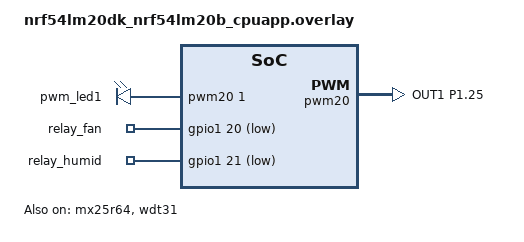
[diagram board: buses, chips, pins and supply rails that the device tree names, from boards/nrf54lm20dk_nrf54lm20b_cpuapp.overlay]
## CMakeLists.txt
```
#
# Copyright (c) 2021 Nordic Semiconductor ASA
#
# SPDX-License-Identifier: LicenseRef-Nordic-5-Clause
#

cmake_minimum_required(VERSION 3.20.0)

find_package(Zephyr HINTS $ENV{ZEPHYR_BASE})

project(matter-light-bulb)

# Enable GNU STD support.
include(${ZEPHYR_CONNECTEDHOMEIP_MODULE_DIR}/config/nrfconnect/app/enable-gnu-std.cmake)

# NORDIC SDK APP START

# Include all source files that are located in the Matter common directory.
include(${ZEPHYR_NRF_MODULE_DIR}/samples/matter/common/cmake/source_common.cmake)

# Include Data Model utils
include(${ZEPHYR_NRF_MODULE_DIR}/samples/matter/common/cmake/data_model.cmake)

include(${ZEPHYR_NRF_MODULE_DIR}/samples/matter/common/cmake/zap_helpers.cmake)
ncs_get_zap_parent_dir(ZAP_PARENT_DIR)

target_include_directories(app PRIVATE
  src
  ${ZAP_PARENT_DIR}
)

target_sources(app PRIVATE
  src/app_task.cpp
  src/main.cpp
  src/zcl_callbacks.cpp
  src/decision.c
  src/node_outputs.cpp
  ${CHIP_ROOT}/src/app/persistence/DeferredAttributePersistenceProvider.cpp
)

ncs_configure_data_model()
# NORDIC SDK APP END
```

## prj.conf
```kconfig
#
# Copyright (c) 2022 Nordic Semiconductor ASA
#
# SPDX-License-Identifier: LicenseRef-Nordic-5-Clause
#

# Enable CHIP
CONFIG_CHIP=y
CONFIG_CHIP_PROJECT_CONFIG="src/chip_project_config.h"
CONFIG_CHIP_DEVICE_PRODUCT_NAME="Bedroom Immune Node"

# Configure ZAP file name
CONFIG_NCS_SAMPLE_MATTER_ZAP_FILE_PATH="${APPLICATION_CONFIG_DIR}/src/default_zap/light_bulb.zap"

# 32773 == 0x8005 (example lighting-app)
CONFIG_CHIP_DEVICE_PRODUCT_ID=32773
CONFIG_STD_CPP17=y

# Enable Matter pairing automatically on application start.
CONFIG_CHIP_ENABLE_PAIRING_AUTOSTART=y

# Enable Matter extended announcement and increase duration to 1 hour.
CONFIG_CHIP_BLE_EXT_ADVERTISING=y
CONFIG_CHIP_BLE_ADVERTISING_DURATION=60

# Add support for LEDs and buttons on Nordic development kits
CONFIG_DK_LIBRARY=y
CONFIG_PWM=y

# Bluetooth Low Energy configuration
CONFIG_BT_DEVICE_NAME="BedroomNode"

# Other settings
CONFIG_THREAD_NAME=y
CONFIG_MPU_STACK_GUARD=y
CONFIG_RESET_ON_FATAL_ERROR=n
CONFIG_CHIP_LIB_SHELL=y
CONFIG_NCS_SAMPLE_MATTER_TEST_SHELL=y

# Reduce application size
CONFIG_USE_SEGGER_RTT=n

# Enable Factory Data feature
CONFIG_CHIP_FACTORY_DATA=y
CONFIG_CHIP_FACTORY_DATA_BUILD=y

# 침실 노드 판단부: 표면 습도 등 소수점 출력
CONFIG_CBPRINTF_FP_SUPPORT=y
```

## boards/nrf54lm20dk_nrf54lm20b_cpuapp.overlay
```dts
/*
 * Copyright (c) 2026 Nordic Semiconductor ASA
 *
 * SPDX-License-Identifier: LicenseRef-Nordic-5-Clause
 */

#include <samples/matter/nrf54lm20_cpuapp_partitions.dtsi>

/ {
	chosen {
		nordic,pm-ext-flash = &mx25r64;
	};

	aliases {
		/* Configure PWM module for led1 (LED2 on the board) */
		pwm-led1 = &pwm_led1;

		/* Use watchdog wdt31 as the application watchdog */
		watchdog0 = &wdt31;
	};

	pwmleds {
		compatible = "pwm-leds";

		pwm_led1: pwm_led_1 {
			pwms = <&pwm20 1 PWM_MSEC(20) PWM_POLARITY_NORMAL>;
		};
	};
};

&pwm20 {
	status = "okay";
	pinctrl-0 = <&pwm_default>;
	pinctrl-1 = <&pwm_sleep>;
	pinctrl-names = "default", "sleep";
};

&pinctrl {
	pwm_default: pwm_default {
		group1 {
			psels = <NRF_PSEL(PWM_OUT1, 1, 25)>;
		};
	};

	pwm_sleep: pwm_sleep {
		group1 {
			psels = <NRF_PSEL(PWM_OUT1, 1, 25)>;
			low-power-enable;
		};
	};
};

&mx25r64 {
	status = "okay";
};

&wdt31 {
	status = "okay";
};

/* 침실 노드: 릴레이 IN1 = 선풍기(P1.20), IN2 = 가습기(P1.21). LOW에서 켜지는 릴레이 */
/ {
	aliases {
		relay-fan = &relay_fan;
		relay-humid = &relay_humid;
	};

	relays {
		compatible = "gpio-leds";
		relay_fan: relay_fan {
			gpios = <&gpio1 20 GPIO_ACTIVE_LOW>;
		};
		relay_humid: relay_humid {
			gpios = <&gpio1 21 GPIO_ACTIVE_LOW>;
		};
	};
};
```

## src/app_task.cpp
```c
/*
 * Copyright (c) 2021 Nordic Semiconductor ASA
 *
 * SPDX-License-Identifier: LicenseRef-Nordic-5-Clause
 */

#include "app_task.h"
#include "node_outputs.h"

#include "app/matter_init.h"
#include "app/task_executor.h"

#if defined(CONFIG_PWM)
#include "pwm/pwm_device.h"
#endif

#include "clusters/identify.h"

#include <app-common/zap-generated/attributes/Accessors.h>
#include <app/persistence/AttributePersistenceProviderInstance.h>
#include <app/persistence/DefaultAttributePersistenceProvider.h>
#include <app/persistence/DeferredAttributePersistenceProvider.h>
#include <app/server/Server.h>
#include <setup_payload/OnboardingCodesUtil.h>

#include <zephyr/logging/log.h>

LOG_MODULE_DECLARE(app, CONFIG_CHIP_APP_LOG_LEVEL);

using namespace ::chip;
using namespace ::chip::app;
using namespace ::chip::DeviceLayer;

namespace
{
constexpr EndpointId kLightEndpointId = 1;
constexpr uint8_t kDefaultMinLevel = 0;
constexpr uint8_t kDefaultMaxLevel = 254;

Nrf::Matter::IdentifyCluster sIdentifyCluster(kLightEndpointId, true, []() {
	Nrf::PostTask([] { Nrf::GetBoard().GetLED(Nrf::DeviceLeds::LED2).Set(false); });
#if defined(CONFIG_PWM)
	Nrf::PostTask([] { AppTask::Instance().GetPWMDevice().ApplyLevel(); });
#endif
});

#if defined(CONFIG_PWM)
const struct pwm_dt_spec sLightPwmDevice = PWM_DT_SPEC_GET(DT_ALIAS(pwm_led1));
#endif

/* Define a custom attribute persister which makes actual write of the CurrentLevel attribute value
 * to the non-volatile storage only when it has remained constant for 5 seconds. This is to reduce
 * the flash wearout when the attribute changes frequently as a result of MoveToLevel command.
 * DeferredAttribute object describes a deferred attribute, but also holds a buffer with a value to
 * be written, so it must live so long as the DeferredAttributePersistenceProvider object.
 */
DeferredAttribute gCurrentLevelPersister(ConcreteAttributePath(kLightEndpointId, Clusters::LevelControl::Id,
							       Clusters::LevelControl::Attributes::CurrentLevel::Id));

/* Deferred persistence will be auto-initialized as soon as the default persistence is initialized */
DefaultAttributePersistenceProvider gSimpleAttributePersistence;
DeferredAttributePersistenceProvider gDeferredAttributePersister(gSimpleAttributePersistence,
								 Span<DeferredAttribute>(&gCurrentLevelPersister, 1),
								 System::Clock::Milliseconds32(5000));

#define APPLICATION_BUTTON_MASK DK_BTN2_MSK
} /* namespace */

void AppTask::LightingActionEventHandler(const LightingEvent &event)
{
#if defined(CONFIG_PWM)
	Nrf::PWMDevice::Action_t action = Nrf::PWMDevice::INVALID_ACTION;
	int32_t actor = 0;
	if (event.Actor == LightingActor::Button) {
		action = Instance().mPWMDevice.IsTurnedOn() ? Nrf::PWMDevice::OFF_ACTION : Nrf::PWMDevice::ON_ACTION;
		actor = static_cast<int32_t>(event.Actor);
	}

	if (action == Nrf::PWMDevice::INVALID_ACTION || !Instance().mPWMDevice.InitiateAction(action, actor, NULL)) {
		LOG_INF("An action could not be initiated.");
	}
#else
	Nrf::GetBoard().GetLED(Nrf::DeviceLeds::LED2).Set(!Nrf::GetBoard().GetLED(Nrf::DeviceLeds::LED2).GetState());
#endif
}

void AppTask::ButtonEventHandler(Nrf::ButtonState state, Nrf::ButtonMask hasChanged)
{
	if ((APPLICATION_BUTTON_MASK & hasChanged) & state) {
		Nrf::PostTask([] {
			LightingEvent event;
			event.Actor = LightingActor::Button;
			LightingActionEventHandler(event);
		});
	}
}

#if defined(CONFIG_PWM)
void AppTask::ActionInitiated(Nrf::PWMDevice::Action_t action, int32_t actor)
{
	/* 판단부의 EVT/VAL 줄과 섞이지 않도록 로그를 남기지 않는다 */
}

void AppTask::ActionCompleted(Nrf::PWMDevice::Action_t action, int32_t actor)
{
	if (actor == static_cast<int32_t>(LightingActor::Button)) {
		Instance().UpdateClusterState();
	}
}
#endif /* CONFIG_PWM */

void AppTask::UpdateClusterState()
{
	SystemLayer().ScheduleLambda([this] {
#if defined(CONFIG_PWM)
		/* write the new on/off value */
		Protocols::InteractionModel::Status status =
			Clusters::OnOff::Attributes::OnOff::Set(kLightEndpointId, mPWMDevice.IsTurnedOn());
#else
		Protocols::InteractionModel::Status status = Clusters::OnOff::Attributes::OnOff::Set(
			kLightEndpointId, Nrf::GetBoard().GetLED(Nrf::DeviceLeds::LED2).GetState());
#endif
		if (status != Protocols::InteractionModel::Status::Success) {
			LOG_ERR("Updating on/off cluster failed: %x", to_underlying(status));
		}

#if defined(CONFIG_PWM)
		/* write the current level */
		status = Clusters::LevelControl::Attributes::CurrentLevel::Set(kLightEndpointId, mPWMDevice.GetLevel());
#else
		/* write the current level */
		if (Nrf::GetBoard().GetLED(Nrf::DeviceLeds::LED2).GetState()) {
			status = Clusters::LevelControl::Attributes::CurrentLevel::Set(kLightEndpointId, 100);
		} else {
			status = Clusters::LevelControl::Attributes::CurrentLevel::Set(kLightEndpointId, 0);
		}
#endif

		if (status != Protocols::InteractionModel::Status::Success) {
			LOG_ERR("Updating level cluster failed: %x", to_underlying(status));
		}
	});
}

void AppTask::InitPWMDDevice()
{
#if defined(CONFIG_PWM)
	/* Initialize lighting device (PWM) */
	uint8_t minLightLevel = kDefaultMinLevel;
	Clusters::LevelControl::Attributes::MinLevel::Get(kLightEndpointId, &minLightLevel);

	uint8_t maxLightLevel = kDefaultMaxLevel;
	Clusters::LevelControl::Attributes::MaxLevel::Get(kLightEndpointId, &maxLightLevel);

	Clusters::LevelControl::Attributes::CurrentLevel::TypeInfo::Type currentLevel;
	Clusters::LevelControl::Attributes::CurrentLevel::Get(kLightEndpointId, currentLevel);

	int ret =
		mPWMDevice.Init(&sLightPwmDevice, minLightLevel, maxLightLevel, currentLevel.ValueOr(kDefaultMaxLevel));
	if (ret != 0) {
		LOG_ERR("Failed to initialize PWD device.");
	}

	mPWMDevice.SetCallbacks(ActionInitiated, ActionCompleted);
#endif
}

CHIP_ERROR AppTask::Init()
{
	/* Initialize Matter stack */
	ReturnErrorOnFailure(Nrf::Matter::PrepareServer(Nrf::Matter::InitData{ .mPostServerInitClbk = []() {
		app::SetAttributePersistenceProvider(&gDeferredAttributePersister);
		gSimpleAttributePersistence.Init(Nrf::Matter::GetPersistentStorageDelegate());
		return CHIP_NO_ERROR;
	} }));

	if (!Nrf::GetBoard().Init(ButtonEventHandler)) {
		LOG_ERR("User interface initialization failed.");
		return CHIP_ERROR_INCORRECT_STATE;
	}

	/* Register Matter event handler that controls the connectivity status LED based on the captured Matter network
	 * state. */
	ReturnErrorOnFailure(Nrf::Matter::RegisterEventHandler(Nrf::Board::DefaultMatterEventHandler, 0));

	ReturnErrorOnFailure(sIdentifyCluster.Init());

	ReturnErrorOnFailure(Nrf::Matter::StartServer());

	/* 침실 노드 판단부 시작 */
	NodeOutputsInit();
	return CHIP_NO_ERROR;
}

CHIP_ERROR AppTask::StartApp()
{
	ReturnErrorOnFailure(Init());

	while (true) {
		Nrf::DispatchNextTask();
	}

	return CHIP_NO_ERROR;
}
```

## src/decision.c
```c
/* 판단부: 벽 표면 습도를 계산해 가습기·선풍기를 임계 전에 조절한다. */
#include <zephyr/kernel.h>
#include <zephyr/shell/shell.h>
#include <math.h>
#include <stdarg.h>
#include <stdlib.h>
#include "decision.h"

#define ON_TH     75.0f  /* 가습 정지선 = ISO 임계 80% - 측정 불확실성 5%p */
#define OFF_TH    70.0f  /* 재개선 (히스테리시스) */
#define ISO_TH    80.0f  /* ISO 13788 곰팡이 임계 표면 습도 */
#define AH_MIN     6.0f  /* 점막 방어 절대습도 하한 g/m3 (Shaman & Kohn) */
#define AH_START   6.5f  /* 이 아래로 떨어지면 가습 */
#define AH_STOP    8.0f  /* 이 위로 오르면 가습 정지 */
#define LEARN_MIN  3.0f  /* 선풍기를 켠 뒤 효과를 재는 시간 (분) */
#define LEARN_MAX 15.0f  /* 효과가 안 보일 때 기다리는 최대 시간 (분) */
#define MANUAL_MIN 30.0f /* 앱에서 직접 조작하면 이 시간 동안 존중 (분), 단 80% 이상이면 방어 우선 */
#define BED_RATE   0.3f  /* D 국면 판정: 침구 습도가 분당 이만큼 오르면 취침, 내리면 기상 (%p/분) */
#define BED_GAP    5.0f  /* 취침 판정: 침구가 실내보다 이만큼 이상 습할 때만 (%p) */
#define BED_DRY_ON 60.0f /* C 침구 건조: 기상 후 침구 습도가 이 이상이면 선풍기로 말림 (진드기 번식 습도) */
#define BED_DRY_OFF 50.0f /* 이 아래로 마르면 건조 끝 */
#define DRY_MAX   45.0f  /* 건조 최대 시간 (분) */

enum { PH_IDLE, PH_SLEEP, PH_WAKE };

struct inputs g_in = { 21.0f, 45.0f, 21.0f, 50.0f };
static struct node_status st;
static float sim_t = -1.0f;   /* 가상 시각(분). sim 명령에 없으면 업타임 사용 */
static float hold_min = 1.0f; /* 최소 유지 시간 60초 */
static float prev_t = -1.0f, last_change_t, fan_on_t, wall_before_fan, prev_wall_nf, slope;
static float prev_bed = -1.0f, dry_t;
static bool measuring;
static float manual_until = -1.0f;
K_MUTEX_DEFINE(dlock);

static float psat(float t) { return 6.112f * expf(17.62f * t / (243.12f + t)); }
static float srh_at(float wall) { return g_in.room_rh * psat(g_in.room_t) / psat(wall); }
static float abs_hum(void) { return 216.7f * (g_in.room_rh / 100.0f) * psat(g_in.room_t) / (273.15f + g_in.room_t); }
/* 표면 습도가 rh가 되는 벽 온도 (Magnus 역함수) */
static float wall_for_srh(float rh)
{
	float l = logf(g_in.room_rh / rh * psat(g_in.room_t) / 6.112f);
	return 243.12f * l / (17.62f - l);
}
/* 표 3: 벽 온도별 허용 실내 습도 상한(표면 80%)과 하한(절대습도 6 g/m3) */
static float band_hi_at(float wall) { return ISO_TH * psat(wall) / psat(g_in.room_t); }
static float rh_for_ah(float ah) { return ah * (273.15f + g_in.room_t) / 216.7f / psat(g_in.room_t) * 100.0f; }
static float band_lo(void) { return rh_for_ah(AH_MIN); }
static float now_min(void) { return sim_t >= 0.0f ? sim_t : k_uptime_get() / 60000.0f; }

const struct node_status *decision_status(void) { return &st; }

/* Matter 로그가 줄 중간에 끼어들지 않도록 한 줄을 통째로 출력한다 (minimal 로깅은 스레드마다 UART에 바로 씀) */
static void emit(const char *fmt, ...)
{
	va_list ap;

	va_start(ap, fmt);
	k_sched_lock();
	vprintk(fmt, ap);
	k_sched_unlock();
	va_end(ap);
}

static void set_outputs(bool h, bool f, const char *why)
{
	st.humid = h;
	st.fan = f;
	last_change_t = now_min();
	outputs_apply(h, f);
	emit("EVT t=%.1f humid=%d fan=%d srh=%.1f ah=%.2f why=%s\n", (double)now_min(), h, f, (double)st.srh,
	       (double)st.ah, why);
}

static void step(void)
{
	k_mutex_lock(&dlock, K_FOREVER);
	float t = now_min();
	float dt = (prev_t < 0.0f || t < prev_t) ? 0.0f : t - prev_t;

	/* E 학습: 선풍기를 켜고 LEARN_MIN 뒤 벽 표면이 몇 ℃ 올랐는지 잰다.
	 * 0.5℃도 안 오르면 아직 반영 전으로 보고 최대 LEARN_MAX까지 더 기다린다. */
	if (st.fan && measuring && t - fan_on_t >= LEARN_MIN) {
		float g = g_in.wall_t - wall_before_fan;
		if (g >= 0.5f || t - fan_on_t >= LEARN_MAX) {
			st.fan_gain = g > 0.0f ? g : 0.0f;
			measuring = false;
			emit("EVT t=%.1f learn fan_gain=%.2f\n", (double)t, (double)st.fan_gain);
		}
	}

	float wall_nf = st.fan ? g_in.wall_t - st.fan_gain : g_in.wall_t;
	st.srh = srh_at(g_in.wall_t);
	st.srh_nf = srh_at(wall_nf);
	st.ah = abs_hum();
	st.band_lo = band_lo();
	st.band_hi = band_hi_at(g_in.wall_t);
	st.band_hi_nf = band_hi_at(wall_nf);

	/* E 예측: 벽이 식는 추세로 임계(80%) 도달 시각을 계산한다 */
	if (dt > 0.0f && !(st.fan && measuring)) {
		slope = 0.8f * slope + 0.2f * (wall_nf - prev_wall_nf) / dt;
	}
	prev_wall_nf = wall_nf;
	prev_t = t;
	st.crit_wall = wall_for_srh(ISO_TH);
	if (wall_nf <= st.crit_wall) {
		st.eta_min = 0.0f;
	} else if (slope < -0.001f) {
		st.eta_min = (wall_nf - st.crit_wall) / -slope;
	} else {
		st.eta_min = -1.0f;
	}
	if (st.srh >= ISO_TH) {
		st.risk_min += dt;
	}

	/* D 국면 판정: 침구 센서 하나로 취침과 기상을 알아낸다 (사용자 설정 없음) */
	if (dt > 0.0f && prev_bed >= 0.0f) {
		st.bed_rate = 0.5f * st.bed_rate + 0.5f * (g_in.bed_rh - prev_bed) / dt;
	}
	prev_bed = g_in.bed_rh;
	if (st.phase != PH_SLEEP && st.bed_rate >= BED_RATE && g_in.bed_rh >= g_in.room_rh + BED_GAP) {
		st.phase = PH_SLEEP;
		emit("EVT t=%.1f phase=1 bed=%.1f why=bed_rise sleep\n", (double)t, (double)g_in.bed_rh);
	} else if (st.phase == PH_SLEEP && st.bed_rate <= -BED_RATE) {
		st.phase = PH_WAKE;
		emit("EVT t=%.1f phase=2 bed=%.1f why=bed_fall wake\n", (double)t, (double)g_in.bed_rh);
	}
	bool bed_wet = st.phase == PH_WAKE && g_in.bed_rh >= BED_DRY_ON;

	bool h = st.humid, f = st.fan;
	bool held = (t - last_change_t) >= hold_min;
	if (manual_until >= 0.0f && (t >= manual_until || st.srh >= ISO_TH)) {
		manual_until = -1.0f;
	}
	/* 선풍기를 끄고 가습 목표(8 g/m3)까지 올려도 표면이 70% 아래인가 */
	float rh_eval = fmaxf(g_in.room_rh, rh_for_ah(AH_STOP));
	float srh_target_nf = rh_eval * psat(g_in.room_t) / psat(wall_nf);

	if (t < manual_until && st.srh < ISO_TH) {
		/* 사용자가 앱에서 정한 상태를 유지한다 */
	} else if (h && st.srh >= ON_TH) {
		/* A 곰팡이 방어: 표면 75%에서 가습 정지 */
		set_outputs(false, f, "srh>=75 humid_off");
	} else if (!f && st.srh >= ON_TH) {
		/* 임계 접근: 0.5초 뒤 선풍기로 벽 표면을 데워 허용 구간을 되찾는다 */
		fan_on_t = t;
		wall_before_fan = g_in.wall_t;
		measuring = true;
		set_outputs(h, true, "srh>=75 fan_on");
	} else if (!st.drying && bed_wet) {
		/* C 침구 건조: 기상 후 밤새 젖은 침구를 선풍기로 말린다 */
		st.drying = true;
		dry_t = t;
		if (!f) {
			set_outputs(h, true, "bed>=60 dry_on");
		} else {
			emit("EVT t=%.1f bed=%.1f why=bed>=60 dry_keep\n", (double)t, (double)g_in.bed_rh);
		}
	} else if (st.drying && (g_in.bed_rh < BED_DRY_OFF || t - dry_t >= DRY_MAX)) {
		st.drying = false;
		if (f && !measuring && srh_target_nf < OFF_TH) {
			set_outputs(h, false, "bed<50 dry_off");
		} else {
			emit("EVT t=%.1f bed=%.1f why=bed<50 dry_done\n", (double)t, (double)g_in.bed_rh);
		}
	} else if (f && !measuring && held && !st.drying && srh_target_nf < OFF_TH) {
		/* 학습한 선풍기 효과를 빼고도 70% 아래일 때만 끈다 (침구 건조 중에는 유지) */
		set_outputs(h, false, "srh_nofan<70 fan_off");
	} else if (!h && held && !st.drying && st.ah < AH_START && st.srh < OFF_TH) {
		/* B 절대습도 확보: 70% 재개선 안쪽에서만 가습 (침구를 말리는 동안은 미룸) */
		set_outputs(true, f, f ? "ah<6.5 humid_on band_by_fan" : "ah<6.5 humid_on");
	} else if (h && st.ah >= AH_STOP) {
		set_outputs(false, f, "ah>=8 humid_off");
	}

	emit("VAL t=%.1f rh=%.1f wt=%.2f srh=%.1f ah=%.2f humid=%d fan=%d lo=%.1f hi=%.1f hinf=%.1f eta=%.0f "
	     "risk=%.1f gain=%.2f bed=%.1f ph=%d dry=%d\n",
	     (double)t, (double)g_in.room_rh, (double)g_in.wall_t, (double)st.srh, (double)st.ah, st.humid, st.fan,
	     (double)st.band_lo, (double)st.band_hi, (double)st.band_hi_nf, (double)st.eta_min, (double)st.risk_min,
	     (double)st.fan_gain, (double)g_in.bed_rh, st.phase, st.drying);
	k_mutex_unlock(&dlock);
	inputs_changed();
}

static void decision_reset(void)
{
	k_mutex_lock(&dlock, K_FOREVER);
	manual_until = -1.0f;
	/* 가상 시각 0분부터 다시 시작한다 (업타임과 섞이면 유지시간 판정이 틀어진다) */
	sim_t = 0.0f;
	prev_t = -1.0f;
	slope = 0.0f;
	measuring = false;
	st.risk_min = 0.0f;
	st.fan_gain = 0.0f;
	st.phase = PH_IDLE;
	st.drying = false;
	st.bed_rate = 0.0f;
	prev_bed = -1.0f;
	set_outputs(false, false, "reset");
	last_change_t = -hold_min;
	k_mutex_unlock(&dlock);
}

/* 앱(다른 Matter 컨트롤러)이나 DK 버튼으로 바뀐 상태를 판단부에 반영한다 */
void decision_manual(bool humid, bool fan)
{
	k_mutex_lock(&dlock, K_FOREVER);
	float t = now_min();
	if (fan && !st.fan) {
		fan_on_t = t;
		wall_before_fan = g_in.wall_t;
		measuring = true;
	} else if (!fan) {
		measuring = false;
	}
	st.humid = humid;
	st.fan = fan;
	last_change_t = t;
	manual_until = t + MANUAL_MIN;
	emit("EVT t=%.1f humid=%d fan=%d srh=%.1f ah=%.2f why=app_manual\n", (double)t, humid, fan, (double)st.srh,
	     (double)st.ah);
	k_mutex_unlock(&dlock);
}

static void decision_thread(void *a, void *b, void *c)
{
	while (true) {
		step();
		k_msleep(500);
	}
}

K_THREAD_STACK_DEFINE(decision_stack, 3072);
static struct k_thread decision_tdata;

void decision_start(void)
{
	set_outputs(false, false, "boot");
	k_thread_create(&decision_tdata, decision_stack, K_THREAD_STACK_SIZEOF(decision_stack), decision_thread, NULL,
			NULL, NULL, 7, 0, K_NO_WAIT);
	k_thread_name_set(&decision_tdata, "decision");
}

/* sim <room_t> <room_rh> <wall_t> <bed_rh> [t_min] : 센서값 (가상 침실이 보냄) */
static int cmd_sim(const struct shell *sh, size_t argc, char **argv)
{
	g_in.room_t = strtof(argv[1], NULL);
	g_in.room_rh = strtof(argv[2], NULL);
	g_in.wall_t = strtof(argv[3], NULL);
	g_in.bed_rh = strtof(argv[4], NULL);
	sim_t = argc > 5 ? strtof(argv[5], NULL) : -1.0f;
	return 0;
}
SHELL_CMD_ARG_REGISTER(sim, NULL, "sim <room_t> <room_rh> <wall_t> <bed_rh> [t_min]", cmd_sim, 5, 1);

static int cmd_hold(const struct shell *sh, size_t argc, char **argv)
{
	hold_min = atoi(argv[1]) / 60.0f;
	shell_print(sh, "hold=%d s", atoi(argv[1]));
	return 0;
}
SHELL_CMD_ARG_REGISTER(hold, NULL, "hold <sec>", cmd_hold, 2, 0);

static int cmd_dreset(const struct shell *sh, size_t argc, char **argv)
{
	decision_reset();
	return 0;
}
SHELL_CMD_ARG_REGISTER(dreset, NULL, "reset risk time, learning and outputs", cmd_dreset, 1, 0);
```

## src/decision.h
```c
#pragma once
#include <stdbool.h>
#ifdef __cplusplus
extern "C" {
#endif
struct inputs { float room_t, room_rh, wall_t, bed_rh; };
struct node_status {
	float srh, srh_nf, ah;                /* 표면 습도(현재 / 선풍기 없다면), 절대습도 g/m3 */
	float band_lo, band_hi, band_hi_nf;   /* 표 3 허용 실내 습도 구간 (선풍기 효과 포함 / 없을 때) */
	float crit_wall, eta_min, risk_min;   /* 임계 벽 온도, 임계 도달 예측(분), 누적 위험 시간(분) */
	float fan_gain;                       /* 학습한 선풍기 효과 (벽 표면 +℃) */
	float bed_rate;                       /* 침구 습도 변화율 (%p/분) */
	int phase;                            /* D 국면: 0 대기, 1 취침, 2 기상 */
	bool drying;                          /* C 침구 건조 중 */
	bool humid, fan;
};
extern struct inputs g_in;
const struct node_status *decision_status(void);
void decision_start(void);
void decision_manual(bool humid, bool fan);    /* 앱에서 바꾼 상태 반영 */
void outputs_apply(bool humid, bool fan);  /* 릴레이·LED·Matter 반영 (node_outputs.cpp) */
void inputs_changed(void);                 /* 센서·판단값을 Matter 속성으로 (node_outputs.cpp) */
#ifdef __cplusplus
}
#endif
```

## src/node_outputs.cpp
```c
/* 판단 결과를 릴레이·LED·Matter 엔드포인트로 내보낸다.
 * EP1 선풍기(On/Off, 기존 전구) · EP2 벽 표면 습도 · EP3 실내 습도 · EP4 벽 표면 온도 · EP5 가습기(On/Off)
 */
#include "node_outputs.h"
#include "decision.h"

#include "app/task_executor.h"
#include "board/board.h"

#include <app-common/zap-generated/attributes/Accessors.h>
#include <platform/CHIPDeviceLayer.h>

#include <zephyr/drivers/gpio.h>
#include <zephyr/kernel.h>

#include <math.h>

using namespace chip::app::Clusters;

namespace
{
const gpio_dt_spec sFanRelay = GPIO_DT_SPEC_GET(DT_ALIAS(relay_fan), gpios);
const gpio_dt_spec sHumidRelay = GPIO_DT_SPEC_GET(DT_ALIAS(relay_humid), gpios);
bool sHumid, sFan, sRisk;

uint16_t ToMatterRh(float rh)
{
	return rh <= 0.0f ? 0 : rh >= 100.0f ? 10000 : static_cast<uint16_t>(lroundf(rh * 100.0f));
}

void PushOutputsWork(intptr_t)
{
	OnOff::Attributes::OnOff::Set(kFanEndpointId, sFan);
	OnOff::Attributes::OnOff::Set(kHumidifierEndpointId, sHumid);
}

void PushSensorsWork(intptr_t)
{
	const node_status *s = decision_status();
	RelativeHumidityMeasurement::Attributes::MeasuredValue::Set(kSurfaceRhEndpointId, ToMatterRh(s->srh));
	RelativeHumidityMeasurement::Attributes::MeasuredValue::Set(kRoomRhEndpointId, ToMatterRh(g_in.room_rh));
	TemperatureMeasurement::Attributes::MeasuredValue::Set(kWallTempEndpointId,
							      static_cast<int16_t>(lroundf(g_in.wall_t * 100.0f)));
}
} /* namespace */

void NodeOutputsInit()
{
	gpio_pin_configure_dt(&sFanRelay, GPIO_OUTPUT_INACTIVE);
	gpio_pin_configure_dt(&sHumidRelay, GPIO_OUTPUT_INACTIVE);
	decision_start();
}

void NodeOnOffChanged(chip::EndpointId endpoint, bool on)
{
	NodeRelaySet(endpoint, on);

	/* 판단부가 내린 값과 다르면 앱(또는 DK 버튼)에서 바꾼 것. 부팅 직후 상태 복원은 무시한다 */
	bool *commanded = endpoint == kFanEndpointId ? &sFan : endpoint == kHumidifierEndpointId ? &sHumid : nullptr;
	if (commanded && *commanded != on && k_uptime_get() > 5000) {
		*commanded = on;
		decision_manual(sHumid, sFan);
	}
}

void NodeRelaySet(chip::EndpointId endpoint, bool on)
{
	if (endpoint == kFanEndpointId) {
		gpio_pin_set_dt(&sFanRelay, on);
	} else if (endpoint == kHumidifierEndpointId) {
		gpio_pin_set_dt(&sHumidRelay, on);
		Nrf::PostTask([on] { Nrf::GetBoard().GetLED(Nrf::DeviceLeds::LED3).Set(on); });
	}
}

extern "C" void outputs_apply(bool humid, bool fan)
{
	sHumid = humid;
	sFan = fan;
	chip::DeviceLayer::PlatformMgr().ScheduleWork(PushOutputsWork);
}

extern "C" void inputs_changed(void)
{
	static int64_t last;
	bool risk = decision_status()->srh >= 80.0f;
	if (risk != sRisk) {
		sRisk = risk;
		Nrf::PostTask([risk] { Nrf::GetBoard().GetLED(Nrf::DeviceLeds::LED4).Set(risk); });
	}
	if (k_uptime_get() - last < 1000) {
		return;
	}
	last = k_uptime_get();
	chip::DeviceLayer::PlatformMgr().ScheduleWork(PushSensorsWork);
}
```

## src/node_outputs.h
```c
#pragma once

#include <lib/core/DataModelTypes.h>

constexpr chip::EndpointId kFanEndpointId = 1;
constexpr chip::EndpointId kSurfaceRhEndpointId = 2;
constexpr chip::EndpointId kRoomRhEndpointId = 3;
constexpr chip::EndpointId kWallTempEndpointId = 4;
constexpr chip::EndpointId kHumidifierEndpointId = 5;

void NodeOutputsInit();
void NodeRelaySet(chip::EndpointId endpoint, bool on);
/* On/Off 속성이 바뀔 때마다 호출: 릴레이를 움직이고, 앱에서 바꾼 것이면 판단부에 알린다 */
void NodeOnOffChanged(chip::EndpointId endpoint, bool on);
```

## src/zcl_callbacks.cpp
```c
/*
 * Copyright (c) 2021 Nordic Semiconductor ASA
 *
 * SPDX-License-Identifier: LicenseRef-Nordic-5-Clause
 */

#include <lib/support/logging/CHIPLogging.h>

#include "app_task.h"
#include "node_outputs.h"

#include <app-common/zap-generated/attributes/Accessors.h>
#include <app-common/zap-generated/ids/Attributes.h>
#include <app-common/zap-generated/ids/Clusters.h>
#include <app/ConcreteAttributePath.h>

using namespace ::chip;
using namespace ::chip::app::Clusters;
using namespace ::chip::app::Clusters::OnOff;

void MatterPostAttributeChangeCallback(const chip::app::ConcreteAttributePath &attributePath, uint8_t type,
				       uint16_t size, uint8_t *value)
{
	ClusterId clusterId = attributePath.mClusterId;
	AttributeId attributeId = attributePath.mAttributeId;

	if (clusterId == OnOff::Id && attributeId == OnOff::Attributes::OnOff::Id) {
		/* EP1 선풍기, EP5 가습기 릴레이 딸깍. 판단부의 EVT 줄과 섞이지 않게 로그는 남기지 않는다 */
		NodeOnOffChanged(attributePath.mEndpointId, *value);
		if (attributePath.mEndpointId != kFanEndpointId) {
			return;
		}

#if defined(CONFIG_PWM)
		AppTask::Instance().GetPWMDevice().InitiateAction(*value ? Nrf::PWMDevice::ON_ACTION :
									   Nrf::PWMDevice::OFF_ACTION,
								  static_cast<int32_t>(LightingActor::Remote), value);
#else
		Nrf::GetBoard().GetLED(Nrf::DeviceLeds::LED2).Set(*value);
#endif

	} else if (clusterId == LevelControl::Id && attributeId == LevelControl::Attributes::CurrentLevel::Id) {
		ChipLogProgress(Zcl, "Cluster LevelControl: attribute CurrentLevel set to %" PRIu8 "", *value);
#if defined(CONFIG_PWM)
		if (AppTask::Instance().GetPWMDevice().IsTurnedOn()) {
			AppTask::Instance().GetPWMDevice().InitiateAction(
				Nrf::PWMDevice::LEVEL_ACTION, static_cast<int32_t>(LightingActor::Remote), value);
		} else {
			ChipLogDetail(Zcl, "LED is off. Try to use move-to-level-with-on-off instead of move-to-level");
		}
#endif
	}
}

/** @brief OnOff Cluster Init
 *
 * This function is called when a specific cluster is initialized. It gives the
 * application an opportunity to take care of cluster initialization procedures.
 * It is called exactly once for each endpoint where cluster is present.
 *
 * @param endpoint   Ver.: always
 *
 * TODO Issue #3841
 * emberAfOnOffClusterInitCallback happens before the stack initialize the cluster
 * attributes to the default value.
 * The logic here expects something similar to the deprecated Plugins callback
 * emberAfPluginOnOffClusterServerPostInitCallback.
 *
 */
void emberAfOnOffClusterInitCallback(EndpointId endpoint)
{
	Protocols::InteractionModel::Status status;
	bool storedValue;

	/* 가습기(EP5)는 판단부가 부팅 때 상태를 정한다 */
	if (endpoint != kFanEndpointId) {
		return;
	}

	/* Read storedValue on/off value */
	status = Attributes::OnOff::Get(endpoint, &storedValue);

	if (status == Protocols::InteractionModel::Status::Success) {
		/* Set actual state to the cluster state that was last persisted */
#if defined(CONFIG_PWM)
		AppTask::Instance().InitPWMDDevice();

		AppTask::Instance().GetPWMDevice().InitiateAction(
			storedValue ? Nrf::PWMDevice::ON_ACTION : Nrf::PWMDevice::OFF_ACTION,
			static_cast<int32_t>(LightingActor::Remote), reinterpret_cast<uint8_t *>(&storedValue));
#else
		Nrf::GetBoard().GetLED(Nrf::DeviceLeds::LED2).Set(storedValue);
#endif
	}

	AppTask::Instance().UpdateClusterState();
}
```
